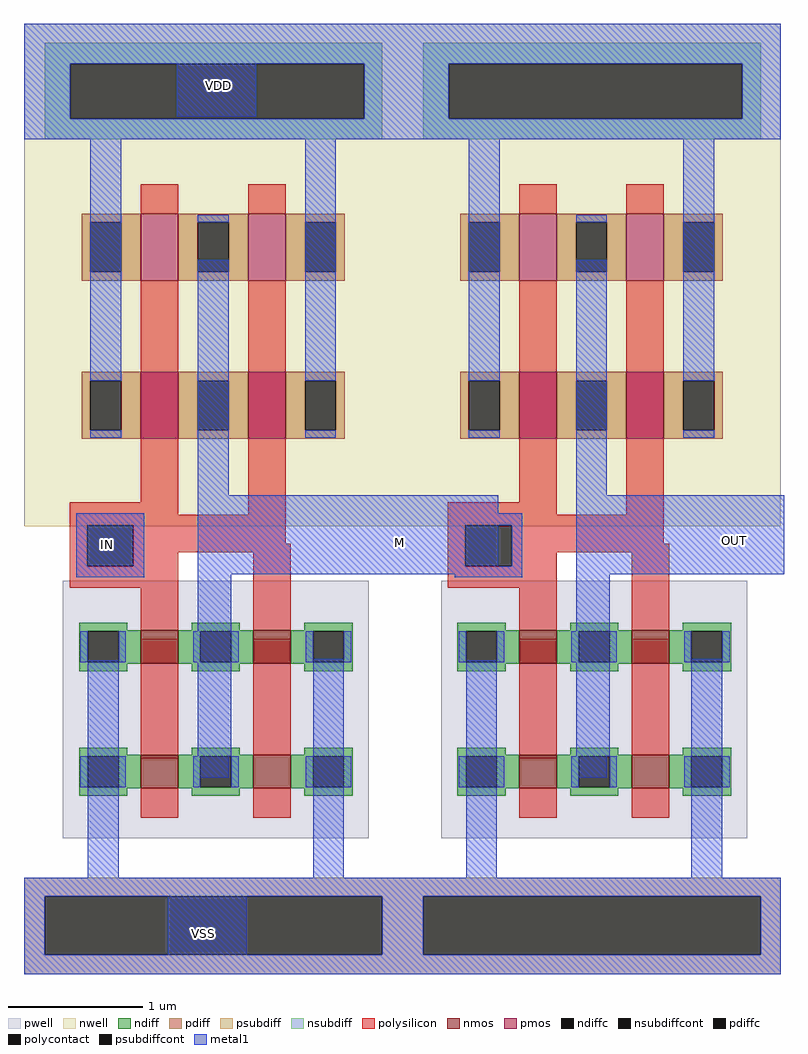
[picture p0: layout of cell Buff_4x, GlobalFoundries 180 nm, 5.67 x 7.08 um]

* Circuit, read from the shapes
.subckt Buff_4x VDD VSS OUT IN M
XM1 M IN VSS VSS nfet_03v3 w=0.25u l=0.28u m=4
XM2 OUT M VSS VSS nfet_03v3 w=0.25u l=0.28u m=4
XM3 M IN VDD VDD pfet_03v3 w=0.5u l=0.28u m=4
XM4 OUT M VDD VDD pfet_03v3 w=0.5u l=0.28u m=4
.ends

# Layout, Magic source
magic
tech gf180mcuC
magscale 1 10
<< metal1 >>
rect 53 1041 171 1159
rect -87 371 -5 435
rect 276 359 532 477
rect 733 359 958 477
rect 39 -224 157 -106
use Inv_4x  Inv_4x_0
transform 1 0 447 0 1 -34
box -58 -203 511 1214
use Inv_4x  Inv_4x_1
transform 1 0 -117 0 1 -34
box -58 -203 511 1214
<< labels >>
flabel metal1 115 1088 115 1088 0 FreeSans 1600 0 0 0 VDD
port 0 nsew
flabel metal1 92 -176 92 -176 0 FreeSans 1600 0 0 0 VSS
port 1 nsew
flabel metal1 884 410 884 410 0 FreeSans 1600 0 0 0 OUT
port 2 nsew
flabel metal1 -50 404 -50 404 0 FreeSans 1600 0 0 0 IN
port 3 nsew
flabel metal1 385 407 385 407 0 FreeSans 1600 0 0 0 M
port 4 nsew
<< end >>

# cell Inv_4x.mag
magic
tech gf180mcuC
magscale 1 10
<< nwell >>
rect -58 1061 506 1214
<< psubdiff >>
rect -58 -87 506 -59
rect -58 -174 -27 -87
rect 476 -174 506 -87
rect -58 -203 506 -174
<< nsubdiff >>
rect -27 1154 476 1186
rect -27 1072 11 1154
rect 449 1072 476 1154
rect -27 1042 476 1072
<< psubdiffcont >>
rect -27 -174 476 -87
<< nsubdiffcont >>
rect 11 1072 449 1154
<< polysilicon >>
rect 116 501 172 795
rect 10 482 172 501
rect 276 482 332 796
rect 10 466 332 482
rect 10 405 36 466
rect 105 439 332 466
rect 105 426 340 439
rect 105 405 172 426
rect 10 373 172 405
rect 116 354 172 373
rect 284 354 340 426
rect 116 118 172 297
rect 284 143 340 297
<< polycontact >>
rect 36 405 105 466
<< metal1 >>
rect -58 1154 506 1214
rect -58 1072 11 1154
rect 449 1072 506 1154
rect -58 1042 506 1072
rect 41 682 87 1042
rect 201 511 247 862
rect 361 693 407 1042
rect 20 466 121 484
rect 20 405 36 466
rect 105 405 121 466
rect 20 389 121 405
rect 201 393 511 511
rect 37 -59 83 265
rect 201 122 251 393
rect 201 90 247 122
rect 373 -59 419 267
rect -58 -87 506 -59
rect -58 -174 -27 -87
rect 476 -174 506 -87
rect -58 -203 506 -174
use nmos_3p3_BZS5U2  nmos_3p3_BZS5U2_0
transform 1 0 228 0 1 192
box -228 -192 228 192
use pmos_3p3_MNXALR  pmos_3p3_MNXALR_0
transform 1 0 224 0 1 763
box -282 -298 282 298
<< labels >>
flabel metal1 469 435 469 435 0 FreeSans 800 0 0 0 OUT
port 0 nsew
flabel polycontact 68 437 68 437 0 FreeSans 800 0 0 0 IN
port 1 nsew
flabel nsubdiffcont 223 1115 223 1115 0 FreeSans 800 0 0 0 VDD
port 2 nsew
flabel psubdiffcont 220 -130 220 -130 0 FreeSans 800 0 0 0 VSS
port 3 nsew
<< end >>

# cell nmos_3p3_BZS5U2: kit device nmos_3p3, w 0.25 l 0.280 m 2 nf 2 diffcov 100 polycov 100 guard 0 glc 0 grc 0 gtc 0 gbc 0 tbcov 100 rlcov 100 topc 0 botc 0 poverlap 0 doverlap 1 lmin 0.28 wmin 0.22 full_metal 0 compatible {nmos_3p3 nmos_6p0 nmos_6p0_nat}

# cell pmos_3p3_MNXALR: kit device pmos_3p3, w 0.5 l 0.280 m 2 nf 2 diffcov 100 polycov 100 guard 0 glc 0 grc 0 gtc 0 gbc 0 tbcov 100 rlcov 100 topc 0 botc 0 poverlap 0 doverlap 1 lmin 0.28 wmin 0.22 full_metal 0 compatible {pmos_3p3 pmos_6p0}
